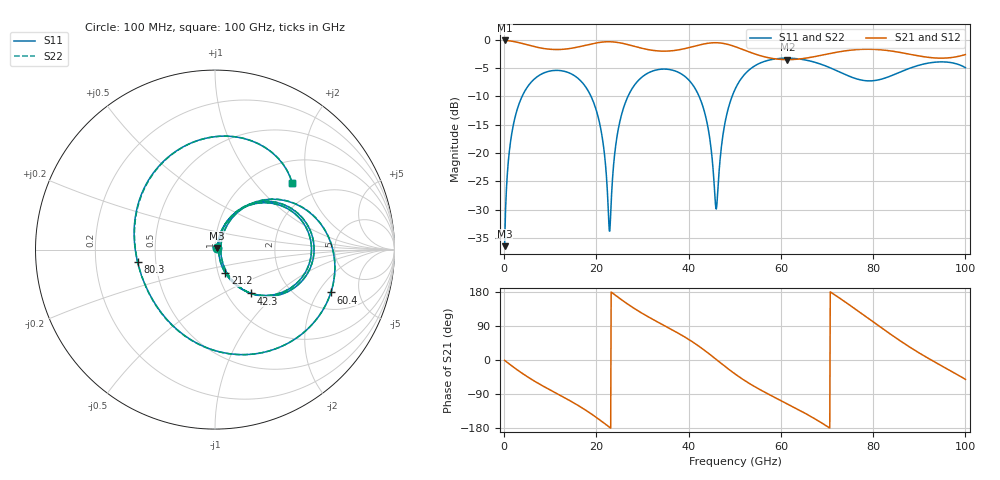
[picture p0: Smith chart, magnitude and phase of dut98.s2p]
! Touchstone file exported from HFSS 2026.1.0
!  File:  C:/ffzhzh/LocalFiles/Ansys_Project_Files/temp_train_TSV_RDL_98_1783632767_29156.aedt
!  Generated:  05:40:00 AM Jul 10, 2026
!  Design:  TSV_RDL
!  Project:  temp_train_TSV_RDL_98_1783632767_29156
! Variables:
!  h_bsmrdl = 4.67um
!  h_ox = 20um
!  h_rdl = 5um
!  h_sub = 78.77um
!  h_tmrdl = 3.32um
!  h_tsv = 78.77um
!  h_via = 3um
!  l_bsmrdl = 459.85um
!  l_sub = 2504.32um
!  l_tmrdl = 154.68um
!  m_sub = 200um
!  pitch = 50.44um
!  r_tsv = 10.62um
!  s_tmrdl = 10um
!  w_bsmrdl = 15.38um
!  w_sub = 500um
!  w_tmrdl = 19.97um
!  x_tsv_center1 = 164.665um
!  x_tsv_center2 = 639.895um
!  x_tsv_center3 = 814.545um
!  x_tsv_center4 = 1289.775um
!  x_tsv_center5 = 1464.425um
!  x_tsv_center6 = 1939.655um
# GHz S MA R 50.000000
! Terminal data exported
! Port[1] = TM_RDL1_1_T1
! Port[2] = TM_RDL5_1_T1
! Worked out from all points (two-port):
!   1000 points, 100 MHz to 100 GHz, reference 50 ohm
!   highest |S21| = -0.10 dB at 100 MHz (marker M1); lowest = -3.5 dB at 61.4 GHz (marker M2)
!   |S21| within 3 dB of the highest: start of sweep to 57.01 GHz; 66.34 GHz to 92.12 GHz (25.78 GHz wide, 32.5 % of centre) (the widest 2 of 3)
!   lowest |S11| = -36.5 dB at 100 MHz (marker M3), VSWR 1.03, Z = 51.2 + j0.978 ohm
!   |S11| at or under -10 dB: start of sweep to 3.887 GHz; 18.84 GHz to 26.84 GHz (7.994 GHz wide, 35 % of centre); 42.28 GHz to 49.41 GHz (7.131 GHz wide, 15.6 % of centre)
!   |S22| runs from -36.5 to -3.2 dB; largest |S21 - S12| = 2.6e-14
!   S11 on the Smith chart (normalised r, x): 100 MHz: 1.02, +0.02; 21.2 GHz: 1.08, -0.29; 42.3 GHz: 1.28, -0.70; 60.4 GHz: 2.88, -2.62; 80.3 GHz: 0.39, -0.07; 100 GHz: 1.46, +1.60
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0.1  0.01502 39.5  0.9885 -1.0  0.9885 -1.0  0.01502 39.5
! Gamma 0 0 0 0
! Port Impedance 50 0 50 0
1.5  0.1359 69.7  0.976 -14.0  0.976 -14.0  0.1359 69.7
4.3  0.3419 48.6  0.9209 -38.3  0.9209 -38.3  0.3419 48.6
10.7  0.5361 4.6  0.823 -83.8  0.823 -83.8  0.5361 4.6
16.8  0.4257 -35.5  0.8798 -125.6  0.8798 -125.6  0.4256 -35.4
21.2  0.1431 -66.1  0.956 -162.4  0.956 -162.4  0.143 -66.1
22.9  0.02039 12.0  0.9628 -177.9  0.9628 -177.9  0.02013 12.4
24.3  0.1262 68.9  0.953 169.2  0.953 169.2  0.1262 69.2
26.1  0.2662 58.2  0.9235 153.3  0.9235 153.3  0.2662 58.4
33.4  0.5465 8.2  0.7986 99.5  0.7986 99.5  0.5465 8.4
42.3  0.315 -50.8  0.9015 35.7  0.9015 35.7  0.3149 -50.5
46  0.032 4.9  0.9439 1.4  0.9439 1.4  0.03269 5.3
47.8  0.1777 62.6  0.9262 -16.1  0.9262 -16.1  0.1779 62.7
50.1  0.3687 47.4  0.871 -37.2  0.871 -37.2  0.3688 47.6
60.4  0.6883 -20.3  0.6705 -109.6  0.6705 -109.6  0.6883 -20.1
61.4  0.6895 -26.3  0.6689 -115.8  0.6689 -115.8  0.6895 -26.1
66.7  0.645 -59.8  0.704 -150.6  0.704 -150.6  0.6448 -59.8
73.6  0.5014 -112.0  0.7965 156.0  0.7965 156.0  0.5011 -112.7
80.3  0.4369 -171.0  0.8241 98.0  0.8241 98.0  0.4371 -172.5
83.4  0.4728 161.3  0.8029 71.2  0.8029 71.2  0.4733 159.8
92.1  0.6251 93.0  0.7 3.4  0.7 3.4  0.6259 92.4
100  0.5682 41.0  0.7418 -51.1  0.7418 -51.1  0.5689 41.1
